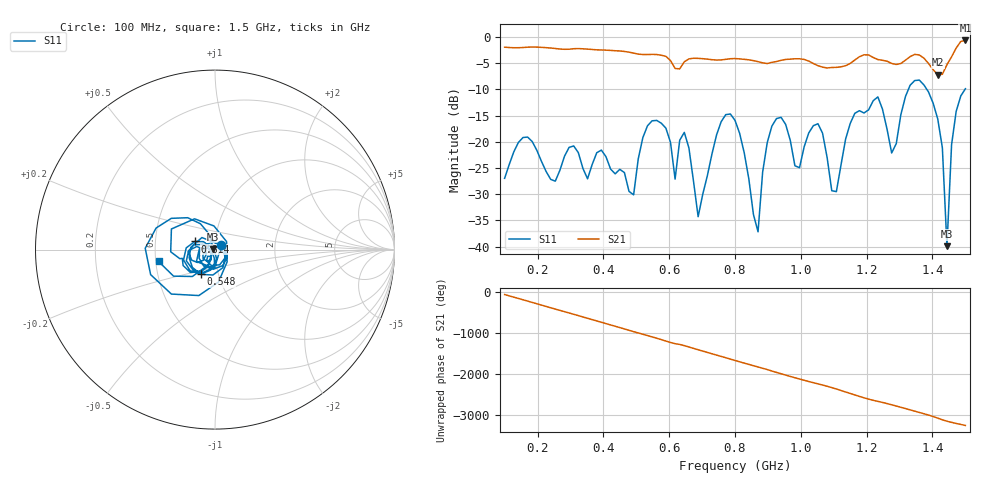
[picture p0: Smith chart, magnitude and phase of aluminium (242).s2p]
! NanoVNA-App
! Date: 2025-09-25 14:57:10
! Start: 100MHz Stop: 1,5GHz Points: 101
! S-Parameter data: F S11 S21 S12 S22
# Hz S RI R 50
!  Frequency  S11_Real  S11_Imag  S21_Real  S21_Imag  S12_Real  S12_Imag  S22_Real  S22_Imag
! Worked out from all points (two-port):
!   101 points, 100 MHz to 1.5 GHz, reference 50 ohm
!   highest |S21| = -0.64 dB at 1.5 GHz (marker M1); lowest = -7.2 dB at 1.416 GHz (marker M2)
!   |S21| within 3 dB of the highest: start of sweep to 588.2 MHz; 1.459 GHz to end of sweep (the widest 2 of 4)
!   lowest |S11| = -39.9 dB at 1.444 GHz (marker M3), VSWR 1.02, Z = 49.1 + j0.361 ohm
!   |S11| at or under -10 dB: start of sweep to 1.327 GHz; 1.383 GHz to 1.499 GHz (115.5 MHz wide, 8.02 % of centre)
!   S12 and S22 are empty: the file has one direction only
!   S11 on the Smith chart (normalised r, x): 100 MHz: 1.07, +0.06; 548 MHz: 0.82, -0.23; 814 MHz: 0.80, +0.07; 1.5 GHz: 0.52, -0.08
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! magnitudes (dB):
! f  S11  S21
! 100 MHz  -27.0  -1.9
! 338 MHz  -25.1  -2.2
! 492 MHz  -30.1  -3.1
! 548 MHz  -16.0  -3.3
! 576 MHz  -16.4  -3.5
! 618 MHz  -27.1  -6.0
! 646 MHz  -18.2  -4.7
! 688 MHz  -34.3  -4.1
! 800 MHz  -15.9  -4.1
! 814 MHz  -18.4  -4.2
! 870 MHz  -37.2  -4.7
! 912 MHz  -17.0  -4.8
! 996 MHz  -24.9  -4.1
! 1.038 GHz  -16.9  -5.0
! 1.094 GHz  -29.3  -5.8
! 1.234 GHz  -11.4  -4.3
! 1.276 GHz  -22.1  -5.0
! 1.346 GHz  -8.3  -3.3
! 1.416 GHz  -15.6  -7.2
! 1.444 GHz  -39.9  -5.3
! 1.458 GHz  -20.5  -3.8
! 1.5 GHz  -9.9  -0.6
